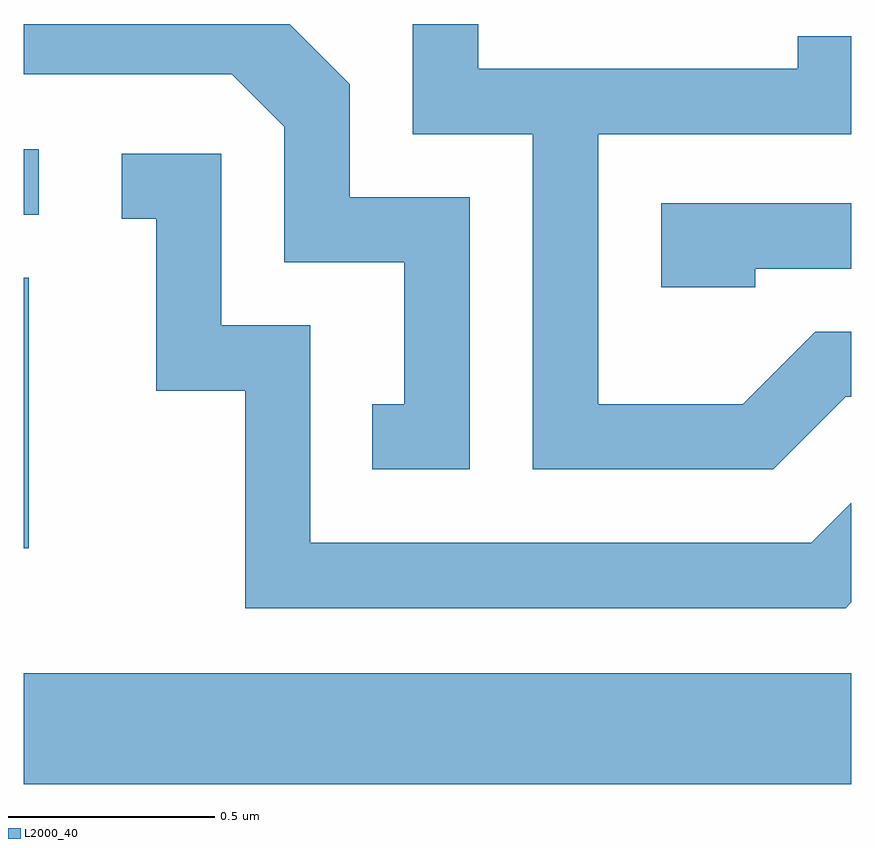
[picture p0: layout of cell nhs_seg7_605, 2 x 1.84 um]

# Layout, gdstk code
import gdstk
lib = gdstk.Library(unit=1e-6, precision=1e-09)
def R(c, l, rs):  # rectangles x0, y0, x1, y1
    for r in rs: c.add(gdstk.rectangle(r[:2], r[2:], *l))
def P(c, l, *ps):  # polygons
    for p in ps: c.add(gdstk.Polygon(p, *l))
L2000_40 = (2000, 40)

nhs_seg7_605 = lib.new_cell('nhs_seg7_605')
R(nhs_seg7_605, L2000_40, [(189.611,1725.416,191.611,1725.684), (189.611,1725.986,189.624,1726.639), (189.611,1726.791,189.648,1726.949)])
P(nhs_seg7_605, L2000_40, [(190.689,1726.834),(190.399,1726.834),(190.399,1727.107),(190.254,1727.252),(189.611,1727.252),(189.611,1727.131),(190.114,1727.131),(190.241,1727.004),(190.241,1726.676),(190.531,1726.676),(190.531,1726.334),(190.453,1726.334),(190.453,1726.176),(190.689,1726.176)],
  [(191.597,1726.351),(191.611,1726.351),(191.611,1726.509),(191.524,1726.509),(191.349,1726.334),(190.999,1726.334),(190.999,1726.986),(191.611,1726.986),(191.611,1727.223),(191.481,1727.223),(191.481,1727.144),(190.709,1727.144),(190.709,1727.252),(190.551,1727.252),(190.551,1726.986),(190.841,1726.986),(190.841,1726.176),(191.422,1726.176)],
  [(191.611,1725.855),(191.611,1726.096),(191.514,1725.999),(190.304,1725.999),(190.304,1726.524),(190.089,1726.524),(190.089,1726.939),(189.848,1726.939),(189.848,1726.781),(189.931,1726.781),(189.931,1726.366),(190.146,1726.366),(190.146,1725.841),(191.597,1725.841)],
  [(191.379,1726.661),(191.611,1726.661),(191.611,1726.819),(191.151,1726.819),(191.151,1726.616),(191.379,1726.616)])

lib.write_gds('nhs_seg7_605.gds')
